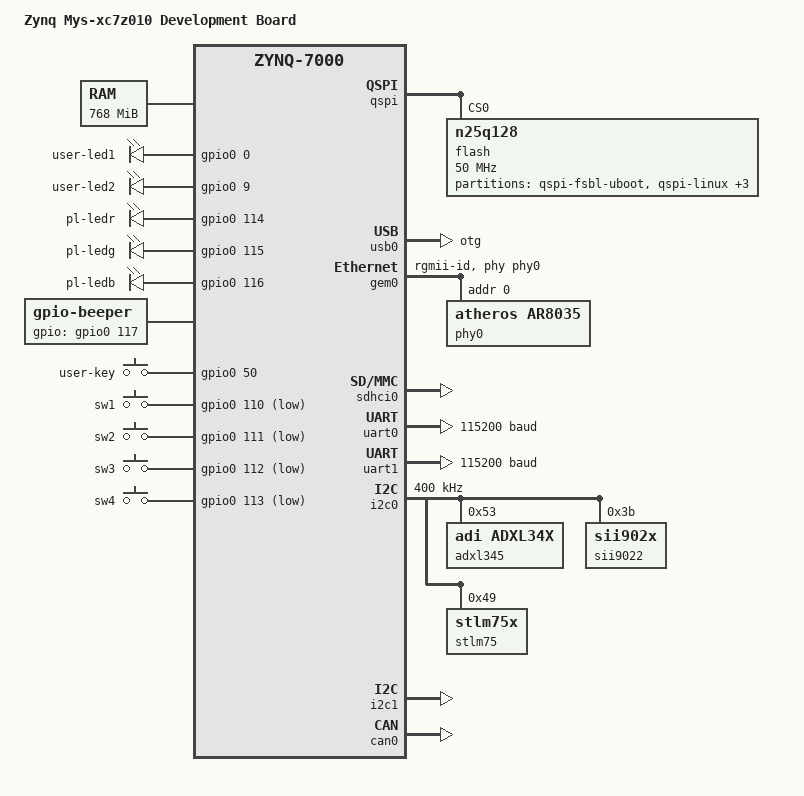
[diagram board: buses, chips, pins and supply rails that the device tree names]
/*
 *  Copyright (C) 2011 - 2014 Xilinx
 *  Copyright (C) 2012 National Instruments Corp.
 *
 * This software is licensed under the terms of the GNU General Public
 * License version 2, as published by the Free Software Foundation, and
 * may be copied, distributed, and modified under those terms.
 *
 * This program is distributed in the hope that it will be useful,
 * but WITHOUT ANY WARRANTY; without even the implied warranty of
 * MERCHANTABILITY or FITNESS FOR A PARTICULAR PURPOSE.  See the
 * GNU General Public License for more details.
 */
/dts-v1/;
/include/ "zynq-7000.dtsi"

/ {
	model = "Zynq Mys-xc7z010 Development Board";
	compatible = "myirs,mys-xc7z010", "xlnx,zynq-7000";

	aliases {
		ethernet0 = &gem0;
		serial0 = &uart1;
		serial1 = &uart0;
		spi0 = &qspi;
	};

	memory {
		device_type = "memory";
		reg = <0x0 0x30000000>;
	};

	chosen {
		bootargs = "console=ttyPS0,115200 root=/dev/ram rw earlyprintk";
		linux,stdout-path = "/amba/serial@e0001000";
	};
};

&gpio0 {
    emio-gpio-width = <64>;
    gpio-mask-high = <0x0>;
    gpio-mask-low = <0x5600>;
    xlnx,emio-gpio-width = <0x40>;
    xlnx,mio-gpio-mask = <0x5600>;
};

&qspi {
	status = "okay";
	is-dual = <0>;
	num-cs = <1>;
	xlnx,fb-clk = <0x1>;
	xlnx,qspi-mode = <0x0>;
	flash@0 {
		compatible = "n25q128";
		reg = <0x0>;
		spi-tx-bus-width = <1>;
		spi-rx-bus-width = <4>;
		spi-max-frequency = <50000000>;
		#address-cells = <1>;
		#size-cells = <1>;
		partition@qspi-fsbl-uboot {
			label = "qspi-fsbl-uboot";
			reg = <0x0 0x100000>;
		};
		partition@qspi-linux {
			label = "qspi-linux";
			reg = <0x100000 0x500000>;
		};
		partition@qspi-device-tree {
			label = "qspi-device-tree";
			reg = <0x600000 0x20000>;
		};
		partition@qspi-rootfs {
			label = "qspi-rootfs";
			reg = <0x620000 0x5E0000>;
		};
		partition@qspi-bitstream {
			label = "qspi-bitstream";
			reg = <0xC00000 0x400000>;
		};
	};
};

&usb0 {
	status = "okay";
	dr_mode = "otg";
	phy_type = "ulpi";
};


&gem0 {
    compatible = "cdns,gem";
    reg = <0xe000b000 0x4000>;
    status = "okay";
    interrupts = <0 22 4>;
    interrupt-parent = <&intc>;
    clocks = <&clkc 30>, <&clkc 30>, <&clkc 13>;
    clock-names = "pclk", "hclk", "tx_clk";
    phy-mode = "rgmii-id";
    phy-handle = <&phy0>;
    phy0: phy@0 {
        compatible = "atheros,ar8035";
            device_type = "ethernet-phy";
            reg = <0>;
    };
};

&sdhci0 {
	status = "okay";
    xlnx,has-cd = <0x1>;
    xlnx,has-power = <0x0>;
    xlnx,has-wp = <0x1>;
};

&uart0 {
	status = "okay";
    current-speed = <115200>;
    port-number = <1>;
    xlnx,has-modem = <0x0>;
};

&uart1 {
	status = "okay";
    current-speed = <115200>;
    port-number = <0>;
    xlnx,has-modem = <0x0>;
};

&i2c0 {
	status = "okay";
    bus-id = <0x0>;
    clock-frequency = <400000>;
    xlnx,has-interrupt = <0x1>;

    adxl345@53 {
        compatible = "adi,adxl34x","adxl34x";
        reg = <0x53>;
        interrupt-parent = <&intc>;
        interrupts = < 0 31 4 >;
    };
    
    sii9022@3b {
        compatible = "sii902x";
        reg = <0x3b>;
        interrupt-parent = <&intc>;
        interrupts = < 0 29 4 >;
        mode_str = "1920x1080";
        bits-per-pixel = <16>;
    };
    stlm75@49 {
        compatible = "stlm75x";
        reg = <0x49>;
        interrupt-parent = <&intc>;
        interrupts = < 0 32 4 >;
    };
};

&i2c1 {
	status = "okay";
};

&can0 {
	status = "okay";
};

&ps7_axi {
    
    gpio-leds {
        compatible = "gpio-leds";
        user-led1 {
            lable = "user-led1";
            gpios = <&gpio0 0 0>;
        };
        
        user-led2 {
            lable = "user-led2";
            gpios = <&gpio0 9 0>;
        };

        pl-ledr {
            lable = "pl-ledr";
            gpios = <&gpio0 114 0>;
        };

        pl-ledg {
            lable = "pl-ledg";
            gpios = <&gpio0 115 0>;
        };

        pl-ledb {
            lable = "pl-ledb";
            gpios = <&gpio0 116 0>;
        };
    };    

    gpio-beep {
            compatible = "gpio-beeper";
            lable = "pl-beep";
            gpios = <&gpio0 117 0>;
        };

    gpio-keys {
        compatible = "gpio-keys";
        #address-cells = <1>;
        #size-cells = <0>;
        autorepeat;

        user-key {
            lable = "user-key1";
            gpios = <&gpio0 50 0>;
            debounce-interval= <50>;
            linux,code = <108>;
            gpio-key,wakeup;
            autorepeat;
        };
/*  Switches*/
        sw1 {
            label = "sw1";
            gpios = <&gpio0 110 1>;
            linux,code = <103>;
            gpio-key,wakeup;
            autorepeat;
        };
        sw2 {
            label = "sw2";
            gpios = <&gpio0 111 1>;
            linux,code = <104>;
            gpio-key,wakeup;
            autorepeat;
        };
        sw3 {
            label = "sw3";
            gpios = <&gpio0 112 1>;
            linux,code = <105>;
            gpio-key,wakeup;
            autorepeat;
        };
        sw4 {
            label = "sw4";
            gpios = <&gpio0 113 1>;
            linux,code = <106>;
            gpio-key,wakeup;
            autorepeat;
        };
    };

/include/ "xylon-display.dtsi"
/include/ "mys-xc7z010-pl.dtsi"
};
